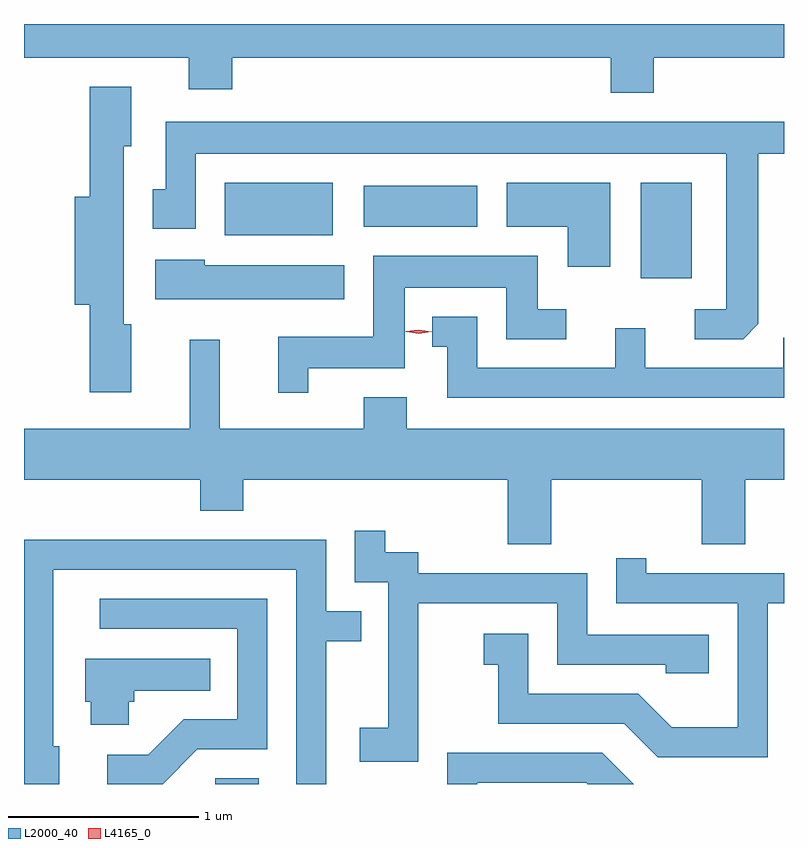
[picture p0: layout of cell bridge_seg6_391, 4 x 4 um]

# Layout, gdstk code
import gdstk
lib = gdstk.Library(unit=1e-6, precision=1e-09)
def R(c, l, rs):  # rectangles x0, y0, x1, y1
    for r in rs: c.add(gdstk.rectangle(r[:2], r[2:], *l))
def P(c, l, *ps):  # polygons
    for p in ps: c.add(gdstk.Polygon(p, *l))
L2000_40 = (2000, 40)
L4165_0 = (4165, 0)

bridge_seg6_391 = lib.new_cell('bridge_seg6_391')
R(bridge_seg6_391, L2000_40, [(869.371,1646.114,869.599,1646.144), (871.611,1648.776,871.879,1649.279), (869.421,1649.001,869.989,1649.279), (870.151,1649.046,870.749,1649.264)])
P(bridge_seg6_391, L2000_40, [(871.679,1649.936),(872.364,1649.936),(872.364,1650.114),(868.364,1650.114),(868.364,1649.936),(869.231,1649.936),(869.231,1649.771),(869.459,1649.771),(869.459,1649.936),(871.451,1649.936),(871.451,1649.751),(871.679,1649.751)],
  [(868.929,1648.534),(868.889,1648.534),(868.889,1649.471),(868.929,1649.471),(868.929,1649.784),(868.711,1649.784),(868.711,1649.204),(868.631,1649.204),(868.631,1648.636),(868.711,1648.636),(868.711,1648.176),(868.929,1648.176)],
  [(872.229,1648.537),(872.229,1649.431),(872.364,1649.431),(872.364,1649.599),(869.111,1649.599),(869.111,1649.244),(869.041,1649.244),(869.041,1649.036),(869.269,1649.036),(869.269,1649.431),(872.061,1649.431),(872.061,1648.614),(871.893,1648.614),(871.893,1648.456),(872.149,1648.456)],
  [(871.449,1649.279),(870.906,1649.279),(870.906,1649.046),(871.226,1649.046),(871.226,1648.836),(871.449,1648.836)],
  [(869.859,1648.301),(870.369,1648.301),(870.369,1648.726),(870.901,1648.726),(870.901,1648.456),(871.218,1648.456),(871.218,1648.614),(871.069,1648.614),(871.069,1648.894),(870.201,1648.894),(870.201,1648.469),(869.701,1648.469),(869.701,1648.173),(869.859,1648.173)],
  [(870.049,1648.844),(869.314,1648.844),(869.314,1648.874),(869.056,1648.874),(869.056,1648.666),(870.049,1648.666)],
  [(872.364,1648.464),(872.361,1648.464),(872.361,1648.304),(871.634,1648.304),(871.634,1648.513),(871.476,1648.513),(871.476,1648.304),(870.749,1648.304),(870.749,1648.574),(870.513,1648.574),(870.513,1648.416),(870.591,1648.416),(870.591,1648.146),(872.364,1648.146)],
  [(871.139,1647.716),(871.931,1647.716),(871.931,1647.376),(872.159,1647.376),(872.159,1647.716),(872.364,1647.716),(872.364,1647.984),(870.379,1647.984),(870.379,1648.149),(870.151,1648.149),(870.151,1647.984),(869.394,1647.984),(869.394,1648.453),(869.236,1648.453),(869.236,1647.984),(868.364,1647.984),(868.364,1647.716),(869.291,1647.716),(869.291,1647.551),(869.519,1647.551),(869.519,1647.716),(870.911,1647.716),(870.911,1647.376),(871.139,1647.376)],
  [(870.439,1647.066),(871.171,1647.066),(871.171,1646.741),(871.741,1646.741),(871.741,1646.696),(871.969,1646.696),(871.969,1646.899),(871.329,1646.899),(871.329,1647.224),(870.439,1647.224),(870.439,1647.334),(870.264,1647.334),(870.264,1647.448),(870.106,1647.448),(870.106,1647.176),(870.281,1647.176),(870.281,1646.409),(870.131,1646.409),(870.131,1646.231),(870.439,1646.231)],
  [(868.549,1646.314),(868.519,1646.314),(868.519,1647.241),(869.796,1647.241),(869.796,1646.114),(869.954,1646.114),(869.954,1646.866),(870.138,1646.866),(870.138,1647.024),(869.954,1647.024),(869.954,1647.399),(868.364,1647.399),(868.364,1646.114),(868.549,1646.114)],
  [(872.279,1647.066),(872.364,1647.066),(872.364,1647.224),(871.639,1647.224),(871.639,1647.303),(871.481,1647.303),(871.481,1647.066),(872.121,1647.066),(872.121,1646.414),(871.772,1646.414),(871.597,1646.589),(871.019,1646.589),(871.019,1646.904),(870.783,1646.904),(870.783,1646.741),(870.861,1646.741),(870.861,1646.431),(871.524,1646.431),(871.699,1646.256),(872.279,1646.256)],
  [(869.277,1646.296),(869.644,1646.296),(869.644,1647.089),(868.763,1647.089),(868.763,1646.931),(869.486,1646.931),(869.486,1646.454),(869.204,1646.454),(869.019,1646.269),(868.803,1646.269),(868.803,1646.114),(869.095,1646.114)],
  [(868.914,1646.546),(868.944,1646.546),(868.944,1646.606),(869.343,1646.606),(869.343,1646.774),(868.686,1646.774),(868.686,1646.546),(868.716,1646.546),(868.716,1646.426),(868.914,1646.426)],
  [(870.749,1646.121),(871.324,1646.121),(871.331,1646.114),(871.572,1646.114),(871.407,1646.279),(870.591,1646.279),(870.591,1646.114),(870.749,1646.114)])
P(bridge_seg6_391, L4165_0, [(870.441,1648.485),(870.372,1648.495),(870.372,1648.495),(870.372,1648.496),(870.441,1648.505),(870.511,1648.495),(870.511,1648.495),(870.511,1648.494)])

lib.write_gds('bridge_seg6_391.gds')
